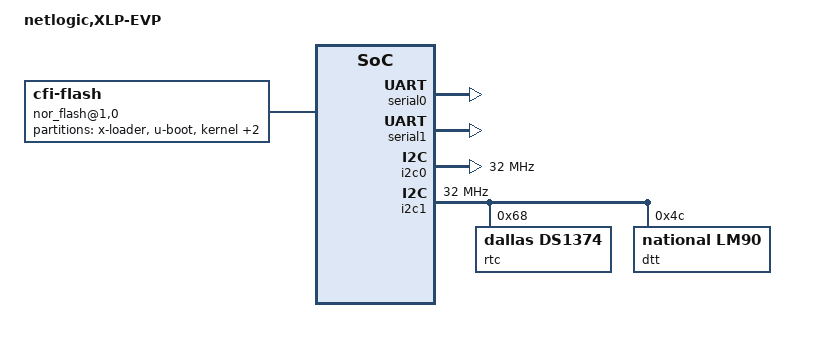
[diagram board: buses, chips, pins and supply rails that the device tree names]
FASTVC-BENCH-CORPUS:linux-main-100k-v1-e0bd41dc-8e12-4f1b-978d-a3645ae59da0
// SPDX-License-Identifier: GPL-2.0
/*
 * XLP8XX Device Tree Source for EVP boards
 */

/dts-v1/;
/ {
	model = "netlogic,XLP-EVP";
	compatible = "netlogic,xlp";
	#address-cells = <2>;
	#size-cells = <2>;

	soc {
		#address-cells = <2>;
		#size-cells = <1>;
		compatible = "simple-bus";
		ranges = <0 0  0 0x18000000  0x04000000   // PCIe CFG
			  1 0  0 0x16000000  0x02000000>; // GBU chipselects

		serial0: serial@30000 {
			device_type = "serial";
			compatible = "ns16550";
			reg = <0 0x30100 0xa00>;
			reg-shift = <2>;
			reg-io-width = <4>;
			clock-frequency = <133333333>;
			interrupt-parent = <&pic>;
			interrupts = <17>;
		};
		serial1: serial@31000 {
			device_type = "serial";
			compatible = "ns16550";
			reg = <0 0x31100 0xa00>;
			reg-shift = <2>;
			reg-io-width = <4>;
			clock-frequency = <133333333>;
			interrupt-parent = <&pic>;
			interrupts = <18>;
		};
		i2c0: ocores@32000 {
			compatible = "opencores,i2c-ocores";
			#address-cells = <1>;
			#size-cells = <0>;
			reg = <0 0x32100 0xa00>;
			reg-shift = <2>;
			reg-io-width = <4>;
			clock-frequency = <32000000>;
			interrupt-parent = <&pic>;
			interrupts = <30>;
		};
		i2c1: ocores@33000 {
			compatible = "opencores,i2c-ocores";
			#address-cells = <1>;
			#size-cells = <0>;
			reg = <0 0x33100 0xa00>;
			reg-shift = <2>;
			reg-io-width = <4>;
			clock-frequency = <32000000>;
			interrupt-parent = <&pic>;
			interrupts = <31>;

			rtc@68 {
				compatible = "dallas,ds1374";
				reg = <0x68>;
			};

			dtt@4c {
				compatible = "national,lm90";
				reg = <0x4c>;
			};
		};
		pic: pic@4000 {
			compatible = "netlogic,xlp-pic";
			#address-cells = <0>;
			#interrupt-cells = <1>;
			reg = <0 0x4000 0x200>;
			interrupt-controller;
		};

		nor_flash@1,0 {
			compatible = "cfi-flash";
			#address-cells = <1>;
			#size-cells = <1>;
			bank-width = <2>;
			reg = <1 0 0x1000000>;

			partition@0 {
				label = "x-loader";
/* bench 25878.0.0 8afec2e59a92 */
/* bench 25878.0.1 edd0ad8b4f57 */
/* bench 25878.0.2 838778e2d172 */
/* bench 25878.0.3 348d9136e002 */
/* bench 25878.0.4 f14b0a5c887a */
/* bench 25878.0.5 669777e52a37 */
/* bench 25878.0.6 18d16c11ec4d */
/* bench 25878.0.7 e42a004f6adf */
/* bench 25878.0.8 f4df3028bc57 */

			partition@100000 {
				label = "u-boot";
				reg = <0x100000 0x100000>; /* 1M */
			};
/* bench 17774.1.0 241a9487f049 */
/* bench 17774.1.1 375b361415c5 */
/* bench 17774.1.2 000fca0898ae */
/* bench 17774.1.3 1964a8377f95 */
/* bench 17774.1.4 e29028658d8b */
/* bench 17774.1.5 a9e5ed045acb */
/* bench 17774.1.6 8491cf09f7f7 */
/* bench 17774.1.7 ed4e6c620b3b */
			partition@200000 {
				label = "kernel";
				reg = <0x200000 0x500000>; /* 5M */
			};

			partition@700000 {
				label = "rootfs";
				reg = <0x700000 0x800000>; /* 8M */
			};

			partition@f00000 {
				label = "env";
				reg = <0xf00000 0x100000>; /* 1M */
				read-only;
			};
		};

		gpio: xlp_gpio@34100 {
			compatible = "netlogic,xlp832-gpio";
			reg = <0 0x34100 0x1000>;
			#gpio-cells = <2>;
			gpio-controller;

			#interrupt-cells = <2>;
			interrupt-parent = <&pic>;
			interrupts = <39>;
			interrupt-controller;
		};
	};

	chosen {
		bootargs = "console=ttyS0,115200 rdinit=/sbin/init";
	};
};
